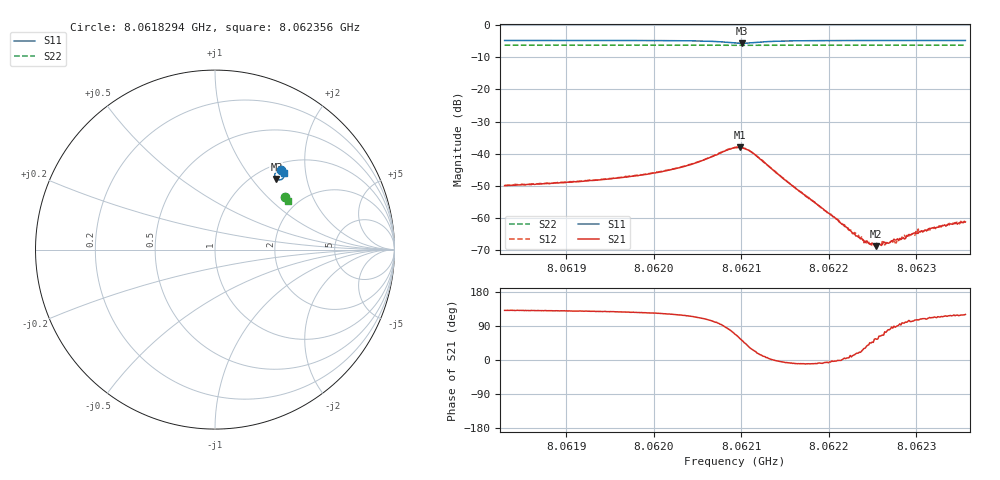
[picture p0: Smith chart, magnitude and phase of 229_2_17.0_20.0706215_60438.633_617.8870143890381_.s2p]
#  HZ  S  RI  R  50.00
! Rohde & Schwarz Vector Network Analyzer
! Rohde-Schwarz,ZNB20-2Port,1311601062101988,3.16
! Created: UTC 3/20/2024, 11:02:18 PM
! freq[Hz]  re:S11  im:S11  re:S21  im:S21  re:S12  im:S12  re:S22  im:S22
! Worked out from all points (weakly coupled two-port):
!   401 points, 8.0618294 GHz to 8.062356 GHz, reference 50 ohm
!   highest |S21| = -38.06 dB at 8.062098 GHz (marker M1); lowest = -68.8 dB at 8.0622533 GHz (marker M2)
!   lowest |S11| = -5.7 dB at 8.0621006 GHz (marker M3), VSWR 3.18, Z = 62 + j67 ohm
!   |S11| at or under -10 dB: nowhere
!   |S22| runs from -6.3 to -6.2 dB; largest |S21 - S12| = 0.00092
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8.06182942e9  0.3657 0.4448  -0.00208 0.0024  -0.00198 0.00256  0.3874 0.2953
8.06191762e9  0.3723 0.4388  -0.00234 0.00288  -0.00217 0.00307  0.3905 0.2911
8.06200582e9  0.3803 0.4288  -0.00283 0.00432  -0.00258 0.00454  0.3936 0.2866
8.06204399e9  0.384 0.4185  -0.0029 0.00625  -0.00254 0.00648  0.3949 0.2842
8.0620927e9  0.3569 0.3878  0.00465 0.0115  0.00524 0.0114  0.3946 0.281
8.06209796e9  0.3468 0.3907  0.00677 0.0105  0.00729 0.0102  0.3944 0.281
8.06210059e9  0.3424 0.3935  0.00756 0.00966  0.00826 0.00925  0.3943 0.2811
8.06211507e9  0.3331 0.4184  0.00891 0.0039  0.00926 0.0033  0.3949 0.2817
8.0621493e9  0.3548 0.4392  0.00391 -0.000414  0.00396 -0.000648  0.397 0.2807
8.06218089e9  0.3662 0.4388  0.00182 -0.000314  0.00183 -0.000425  0.3986 0.279
8.06222565e9  0.3743 0.4356  0.000607 8.69e-05  0.000644 5.34e-05  0.4004 0.2766
8.06223354e9  0.3753 0.4349  0.000478 0.000156  0.000521 0.000152  0.4005 0.2762
8.06224934e9  0.377 0.4338  0.000277 0.000301  0.000267 0.000262  0.4011 0.2753
8.06225329e9  0.3775 0.4336  0.000204 0.000302  0.00024 0.000291  0.4013 0.2752
8.06226909e9  0.3792 0.4324  7.29e-05 0.000404  8.59e-05 0.000398  0.4017 0.2743
8.0622783e9  0.3802 0.4319  -6.6e-07 0.000475  1.32e-05 0.000466  0.4022 0.2739
8.0622862e9  0.3808 0.4315  -6.19e-05 0.000466  -4.37e-05 0.000536  0.4024 0.2735
8.0622941e9  0.3816 0.431  -0.00011 0.000539  -8.9e-05 0.000542  0.4028 0.273
8.06230199e9  0.3821 0.4304  -0.000153 0.000555  -0.00015 0.000656  0.4029 0.2727
8.06231647e9  0.3834 0.4296  -0.000246 0.00064  -0.000223 0.000613  0.4036 0.272
8.06233885e9  0.3851 0.4282  -0.000373 0.000721  -0.00033 0.000743  0.4041 0.2708
8.06235596e9  0.3864 0.4273  -0.000435 0.00075  -0.000357 0.000789  0.4047 0.2699
